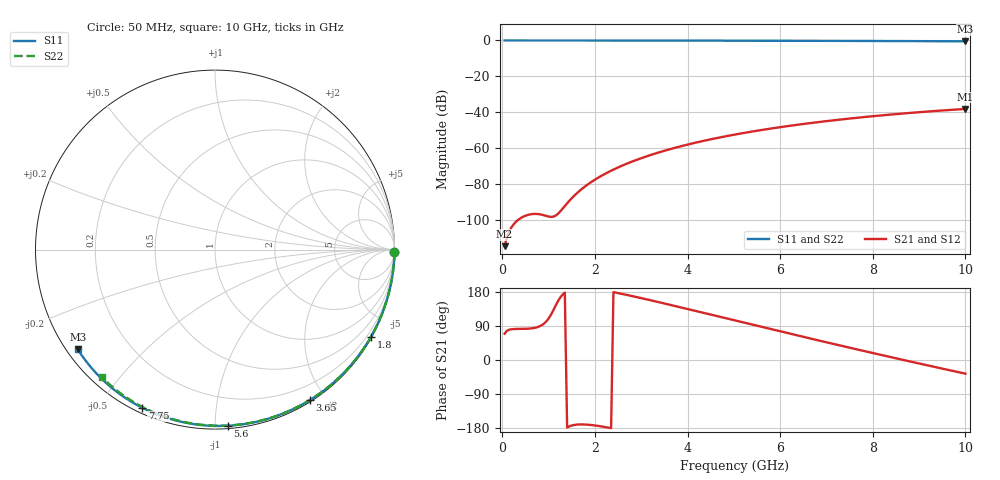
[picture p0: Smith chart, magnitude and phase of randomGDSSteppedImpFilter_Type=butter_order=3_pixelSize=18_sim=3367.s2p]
! freq	dB(S11)	phase(S11)	dB(S12)	phase(S12)
!  dB(S21)	phase(S21)	dB(S22)	phase(S22)
!S-par simulation data
#  GHz  S  DB  R 50
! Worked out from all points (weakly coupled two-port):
!   200 points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, 50 MHz to 10 GHz, reference 50 ohm
!   highest |S21| = -38.16 dB at 10 GHz (marker M1); lowest = -114.7 dB at 50 MHz (marker M2)
!   lowest |S11| = -0.5 dB at 10 GHz (marker M3), VSWR 35.53, Z = 1.56 - j16.3 ohm
!   |S11| at or under -10 dB: nowhere
!   |S22| runs from -0.4 to 0.0 dB; largest |S21 - S12| = 0
!   S11 on the Smith chart (normalised r, x): 50 MHz: open; 1.8 GHz: 0.03, -3.83; 3.65 GHz: 0.02, -1.81; 5.6 GHz: 0.02, -1.07; 7.75 GHz: 0.02, -0.64; 10 GHz: 0.03, -0.33
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0.05  -0.00 -0.8  -114.65 69.5  -114.65 69.5  -0.00 -0.8
0.45  -0.01 -7.4  -98.24 82.1  -98.24 82.1  -0.01 -6.8
0.9  -0.02 -14.8  -97.42 96.0  -97.42 96.0  -0.02 -13.6
1.3  -0.03 -21.2  -93.79 172.2  -93.79 172.2  -0.02 -19.6
1.75  -0.04 -28.4  -82.10 -170.1  -82.10 -170.1  -0.03 -26.2
1.8  -0.04 -29.2  -81.11 -170.3  -81.11 -170.3  -0.03 -26.9
1.85  -0.04 -30.0  -80.17 -170.7  -80.17 -170.7  -0.04 -27.7
2.2  -0.04 -35.6  -74.59 -176.5  -74.59 -176.5  -0.04 -32.8
2.55  -0.05 -41.0  -70.18 175.3  -70.18 175.3  -0.05 -37.9
2.95  -0.06 -47.2  -66.07 164.7  -66.07 164.7  -0.06 -43.6
3.4  -0.07 -54.1  -62.24 152.0  -62.24 152.0  -0.07 -49.9
3.65  -0.08 -57.8  -60.39 144.8  -60.39 144.8  -0.07 -53.4
4.3  -0.10 -67.4  -56.22 125.7  -56.22 125.7  -0.09 -62.3
5.05  -0.12 -78.2  -52.31 103.6  -52.31 103.6  -0.11 -72.2
5.6  -0.14 -85.9  -49.90 87.3  -49.90 87.3  -0.13 -79.3
6.15  -0.17 -93.4  -47.78 71.2  -47.78 71.2  -0.15 -86.3
6.7  -0.19 -100.8  -45.90 55.3  -45.90 55.3  -0.18 -93.1
7.2  -0.23 -107.5  -44.37 41.0  -44.37 41.0  -0.21 -99.2
7.75  -0.26 -114.6  -42.86 25.4  -42.86 25.4  -0.24 -105.7
8.35  -0.31 -122.4  -41.38 8.6  -41.38 8.6  -0.29 -112.7
9.2  -0.40 -133.4  -39.58 -14.6  -39.58 -14.6  -0.36 -122.4
10  -0.49 -143.9  -38.16 -36.0  -38.16 -36.0  -0.44 -131.5
